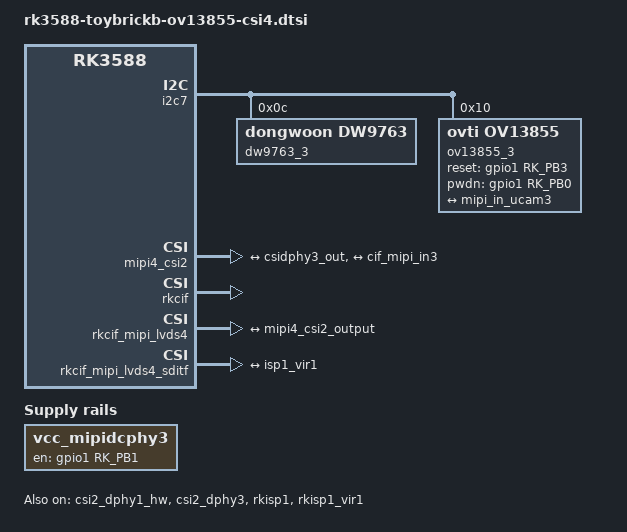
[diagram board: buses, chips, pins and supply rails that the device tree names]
/ {
	vcc_mipidcphy3: vcc-mipidcphy3-regulator {
		compatible = "regulator-fixed";
		gpio = <&gpio1 RK_PB1 GPIO_ACTIVE_HIGH>;
		pinctrl-names = "default";
		pinctrl-0 = <&mipidcphy3_pwr>;
		regulator-name = "vcc_mipidcphy3";
		enable-active-high;
		regulator-always-on;
		regulator-boot-on;
	};
};

&i2c7 {
	status = "okay";
	pinctrl-0 = <&i2c7m0_xfer>;

	dw9763_3: dw9763-3@0c {
		status = "okay";
		compatible = "dongwoon,dw9763";
		reg = <0x0c>;
		rockchip,camera-module-index = <3>;
		rockchip,camera-module-facing = "back";
	};

	ov13855_3: ov13855-3@10 {
               compatible = "ovti,ov13855";
               status = "okay";
               reg = <0x10>;
               clocks = <&cru CLK_MIPI_CAMARAOUT_M4>;
               clock-names = "xvclk";
               power-domains = <&power RK3588_PD_VI>;
               pinctrl-names = "default";
               pinctrl-0 = <&mipim0_camera4_clk>;
               rockchip,grf = <&sys_grf>;
               reset-gpios = <&gpio1 RK_PB3 GPIO_ACTIVE_HIGH>;
               pwdn-gpios = <&gpio1 RK_PB0 GPIO_ACTIVE_HIGH>;
               rockchip,camera-module-index = <3>;
               rockchip,camera-module-facing = "front";
               rockchip,camera-module-name = "CMK-OT2016-FV1";
               rockchip,camera-module-lens-name = "default";
		lens-focus = <&dw9763_3>;
               port {
                       ov13855_out3: endpoint {
                               remote-endpoint = <&mipi_in_ucam3>;
                               data-lanes = <1 2 3 4>;
                       };
               };
       };
};

&csi2_dphy1_hw {
	status = "okay";
};

&csi2_dphy3 {
	status = "okay";

	ports {
		#address-cells = <1>;
		#size-cells = <0>;
		port@0 {
			reg = <0>;
			#address-cells = <1>;
			#size-cells = <0>;

			mipi_in_ucam3: endpoint@1 {
				reg = <1>;
				remote-endpoint = <&ov13855_out3>;
				data-lanes = <1 2 3 4>;
			};
		};
		port@1 {
			reg = <1>;
			#address-cells = <1>;
			#size-cells = <0>;

			csidphy3_out: endpoint@0 {
				reg = <0>;
				remote-endpoint = <&mipi4_csi2_input>;
			};
		};
	};
};

&mipi4_csi2 {
	status = "okay";

	ports {
		#address-cells = <1>;
		#size-cells = <0>;

		port@0 {
			reg = <0>;
			#address-cells = <1>;
			#size-cells = <0>;

			mipi4_csi2_input: endpoint@1 {
				reg = <1>;
				remote-endpoint = <&csidphy3_out>;
			};
		};

		port@1 {
			reg = <1>;
			#address-cells = <1>;
			#size-cells = <0>;

			mipi4_csi2_output: endpoint@0 {
				reg = <0>;
				remote-endpoint = <&cif_mipi_in3>;
			};
		};
	};
};

&rkcif {
	status = "okay";
};

&rkcif_mmu {
	status = "okay";
};

&rkcif_mipi_lvds4 {
	status = "okay";

	port {
		cif_mipi_in3: endpoint {
			remote-endpoint = <&mipi4_csi2_output>;
		};
	};
};

&rkcif_mipi_lvds4_sditf {
	status = "okay";

	port {
		mipi4_lvds_sditf: endpoint {
			remote-endpoint = <&isp1_vir1>;
		};
	};
};

&rkisp1 {
	status = "okay";
};

&isp1_mmu {
	status = "okay";
};

&rkisp1_vir1 {
	status = "okay";

	port {
		#address-cells = <1>;
		#size-cells = <0>;

		isp1_vir1: endpoint@0 {
			reg = <0>;
			remote-endpoint = <&mipi4_lvds_sditf>;
		};
	};
};


&pinctrl {
	mipidcphy3_pwr: mipidcphy3-pwr {
		rockchip,pins =
			/* camera power en */
			<1 RK_PB1 RK_FUNC_GPIO &pcfg_output_high>;
	};
};
